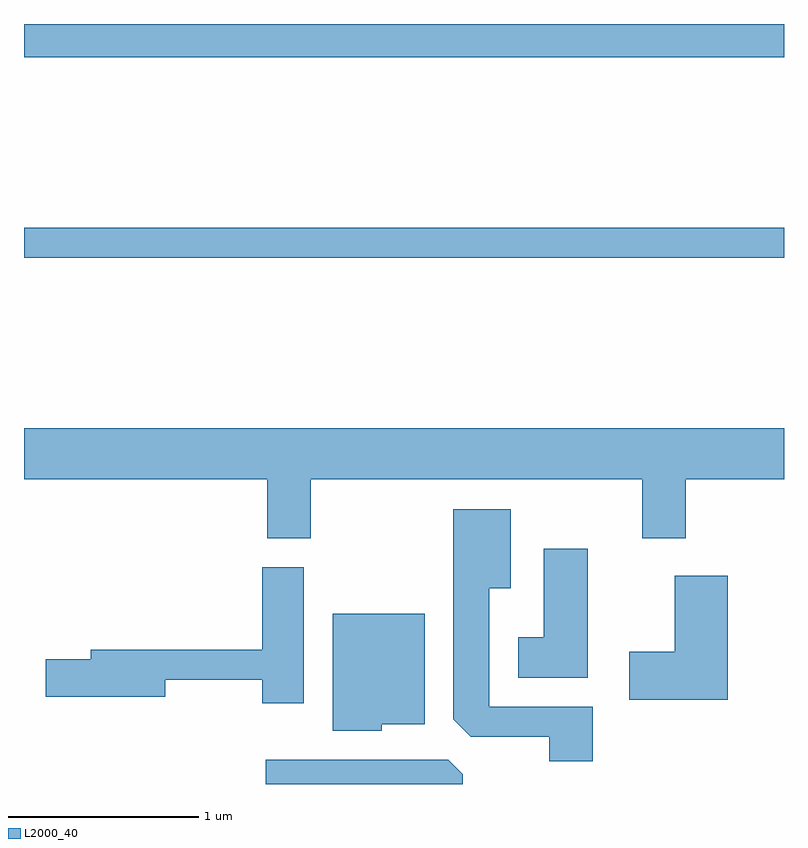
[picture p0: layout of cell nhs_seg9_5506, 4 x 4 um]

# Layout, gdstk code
import gdstk
lib = gdstk.Library(unit=1e-6, precision=1e-09)
def R(c, l, rs):  # rectangles x0, y0, x1, y1
    for r in rs: c.add(gdstk.rectangle(r[:2], r[2:], *l))
def P(c, l, *ps):  # polygons
    for p in ps: c.add(gdstk.Polygon(p, *l))
L2000_40 = (2000, 40)

nhs_seg9_5506 = lib.new_cell('nhs_seg9_5506')
R(nhs_seg9_5506, L2000_40, [(347.611,1995.201,351.611,1995.359), (347.611,1996.256,351.611,1996.432)])
P(nhs_seg9_5506, L2000_40, [(349.119,1994.036),(350.866,1994.036),(350.866,1993.726),(351.094,1993.726),(351.094,1994.036),(351.611,1994.036),(351.611,1994.304),(347.611,1994.304),(347.611,1994.036),(348.891,1994.036),(348.891,1993.726),(349.119,1993.726)],
  [(350.604,1992.839),(350.059,1992.839),(350.059,1993.461),(350.174,1993.461),(350.174,1993.879),(349.871,1993.879),(349.871,1992.772),(349.962,1992.681),(350.376,1992.681),(350.376,1992.551),(350.604,1992.551)],
  [(350.579,1993.669),(350.346,1993.669),(350.346,1993.204),(350.211,1993.204),(350.211,1992.991),(350.579,1992.991)],
  [(349.084,1993.574),(348.866,1993.574),(348.866,1993.139),(347.961,1993.139),(347.961,1993.089),(347.726,1993.089),(347.726,1992.891),(348.354,1992.891),(348.354,1992.981),(348.866,1992.981),(348.866,1992.856),(349.084,1992.856)],
  [(351.314,1993.529),(351.036,1993.529),(351.036,1993.129),(350.796,1993.129),(350.796,1992.876),(351.314,1992.876)],
  [(349.494,1992.746),(349.719,1992.746),(349.719,1993.329),(349.236,1993.329),(349.236,1992.711),(349.494,1992.711)],
  [(349.919,1992.484),(349.844,1992.559),(348.883,1992.559),(348.883,1992.432),(349.919,1992.432)])

lib.write_gds('nhs_seg9_5506.gds')
